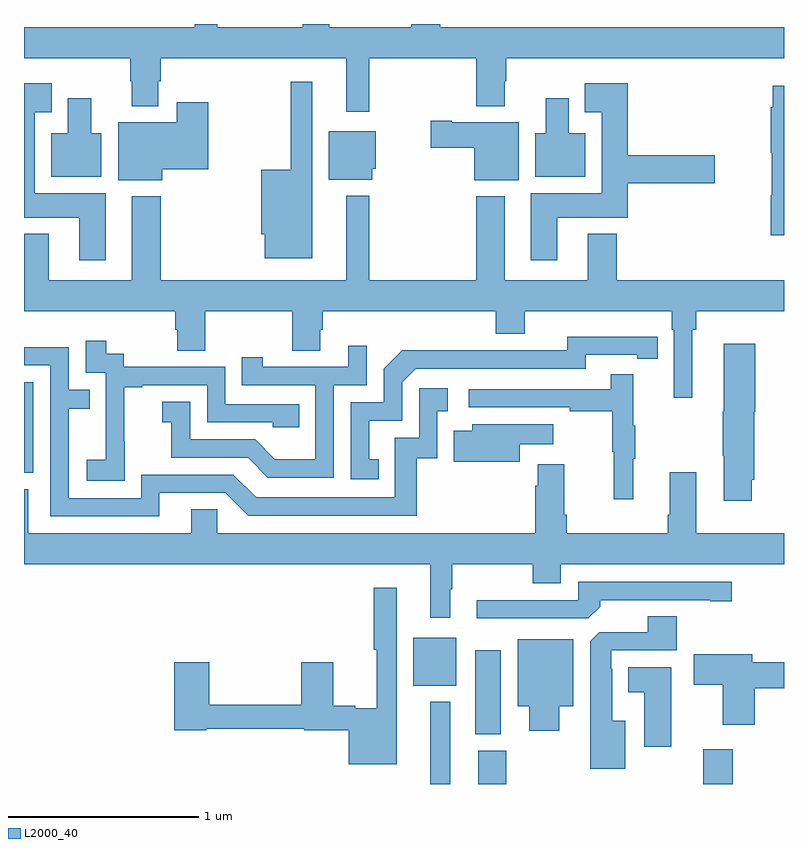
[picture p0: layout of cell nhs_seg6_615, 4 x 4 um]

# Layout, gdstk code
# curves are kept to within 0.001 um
import gdstk
lib = gdstk.Library(unit=1e-6, precision=1e-09)
def R(c, l, rs):  # rectangles x0, y0, x1, y1
    for r in rs: c.add(gdstk.rectangle(r[:2], r[2:], *l))
def P(c, l, *ps):  # polygons
    for p in ps: c.add(gdstk.Polygon(p, *l))
L2000_40 = (2000, 40)

nhs_seg6_615 = lib.new_cell('nhs_seg6_615')
R(nhs_seg6_615, L2000_40, [(151.139,959.5,151.243,959.932), (151.391,959.5,151.539,959.676), (152.576,959.5,152.729,959.683), (151.376,959.761,151.51,960.205), (151.049,960.017,151.276,960.271), (149,961.137,149.049,961.614)])
P(nhs_seg6_615, L2000_40, [(150.817,963.32),(151.379,963.32),(151.379,963.068),(151.531,963.068),(151.531,963.2),(151.539,963.2),(151.539,963.32),(153,963.32),(153,963.484),(151.19,963.484),(151.19,963.5),(151.037,963.5),(151.037,963.484),(150.607,963.484),(150.607,963.5),(150.467,963.5),(150.467,963.484),(150.017,963.484),(150.017,963.5),(149.899,963.5),(149.899,963.484),(149,963.484),(149,963.32),(149.56,963.32),(149.56,963.2),(149.567,963.2),(149.567,963.068),(149.707,963.068),(149.707,963.2),(149.72,963.2),(149.72,963.32),(150.695,963.32),(150.695,963.039),(150.817,963.039)],
  [(150.517,963.196),(150.403,963.196),(150.403,962.734),(150.248,962.734),(150.248,962.394),(150.266,962.394),(150.266,962.267),(150.517,962.267)],
  [(151.807,962.48),(152.177,962.48),(152.177,962.663),(152.635,962.663),(152.635,962.81),(152.177,962.81),(152.177,963.187),(151.952,963.187),(151.952,963.035),(152.042,963.035),(152.042,962.608),(151.667,962.608),(151.667,962.256),(151.807,962.256)],
  [(149.431,962.608),(149.056,962.608),(149.056,963.035),(149.146,963.035),(149.146,963.187),(149,963.187),(149,962.48),(149.291,962.48),(149.291,962.256),(149.431,962.256)],
  [(153,963.175),(152.942,963.175),(152.942,963.062),(152.93,963.062),(152.93,962.822),(152.935,962.822),(152.935,962.6),(152.93,962.6),(152.93,962.388),(153,962.388)],
  [(149.407,962.926),(149.353,962.926),(149.353,963.109),(149.231,963.109),(149.231,962.926),(149.144,962.926),(149.144,962.696),(149.407,962.696)],
  [(151.954,962.926),(151.867,962.926),(151.867,963.109),(151.745,963.109),(151.745,962.926),(151.691,962.926),(151.691,962.696),(151.954,962.696)],
  [(149.728,962.735),(149.97,962.735),(149.97,963.088),(149.804,963.088),(149.804,962.983),(149.495,962.983),(149.495,962.678),(149.728,962.678)],
  [(151.603,962.983),(151.252,962.983),(151.252,962.991),(151.14,962.991),(151.14,962.849),(151.37,962.849),(151.37,962.678),(151.603,962.678)],
  [(150.832,962.739),(150.85,962.739),(150.85,962.935),(150.605,962.935),(150.605,962.681),(150.832,962.681)],
  [(152.518,961.892),(152.537,961.892),(152.537,961.988),(153,961.988),(153,962.152),(152.12,962.152),(152.12,962.395),(151.967,962.395),(151.967,962.152),(151.531,962.152),(151.531,962.593),(151.379,962.593),(151.379,962.152),(150.817,962.152),(150.817,962.596),(150.695,962.596),(150.695,962.152),(149.72,962.152),(149.72,962.593),(149.567,962.593),(149.567,962.152),(149.131,962.152),(149.131,962.395),(149,962.395),(149,961.988),(149.795,961.988),(149.795,961.89),(149.807,961.89),(149.807,961.78),(149.955,961.78),(149.955,961.988),(150.412,961.988),(150.412,961.78),(150.559,961.78),(150.559,961.89),(150.572,961.89),(150.572,961.988),(151.484,961.988),(151.484,961.871),(151.636,961.871),(151.636,961.988),(152.408,961.988),(152.408,961.892),(152.421,961.892),(152.421,961.533),(152.518,961.533)],
  [(150.866,961.209),(150.817,961.209),(150.817,961.413),(150.99,961.413),(150.99,961.614),(151.062,961.686),(151.956,961.686),(151.956,961.758),(152.228,961.758),(152.228,961.738),(152.336,961.738),(152.336,961.854),(151.86,961.855),(151.86,961.782),(151.4,961.782),(151.4,961.784),(150.992,961.784),(150.894,961.686),(150.894,961.509),(150.72,961.509),(150.72,961.104),(150.866,961.104)],
  [(149.529,961.303),(149.528,961.303),(149.528,961.587),(149.623,961.587),(149.623,961.599),(149.964,961.599),(149.964,961.404),(150.309,961.404),(150.309,961.377),(150.449,961.377),(150.449,961.5),(150.06,961.5),(150.06,961.695),(149.526,961.695),(149.526,961.764),(149.434,961.764),(149.434,961.834),(149.325,961.834),(149.325,961.665),(149.43,961.665),(149.43,961.436),(149.429,961.436),(149.429,961.207),(149.331,961.207),(149.331,961.097),(149.529,961.097)],
  [(152.83,961.102),(152.843,961.102),(152.843,961.458),(152.848,961.458),(152.848,961.816),(152.684,961.816),(152.684,961.458),(152.677,961.458),(152.677,961.228),(152.684,961.228),(152.684,960.99),(152.83,960.99)],
  [(150.63,961.599),(150.804,961.599),(150.804,961.807),(150.707,961.807),(150.707,961.695),(150.256,961.695),(150.256,961.747),(150.145,961.747),(150.145,961.599),(150.534,961.599),(150.534,961.21),(150.32,961.21),(150.216,961.314),(149.874,961.314),(149.874,961.513),(149.727,961.513),(149.727,961.403),(149.776,961.403),(149.776,961.218),(150.179,961.218),(150.284,961.113),(150.63,961.113)],
  [(149.713,961.032),(150.06,961.032),(150.18,960.912),(151.067,960.912),(151.067,961.215),(151.176,961.215),(151.176,961.461),(151.231,961.461),(151.231,961.582),(151.08,961.582),(151.08,961.323),(150.951,961.323),(150.951,961.008),(150.222,961.008),(150.102,961.128),(149.616,961.128),(149.616,961.005),(149.235,961.005),(149.235,961.474),(149.345,961.474),(149.345,961.575),(149.235,961.575),(149.235,961.8),(149,961.8),(149,961.704),(149.139,961.704),(149.139,960.909),(149.713,960.909)],
  [(152.207,961.211),(152.218,961.211),(152.218,961.385),(152.207,961.385),(152.207,961.657),(152.089,961.657),(152.089,961.578),(151.341,961.578),(151.341,961.482),(151.873,961.482),(151.873,961.462),(152.097,961.462),(152.097,961.248),(152.104,961.248),(152.104,960.999),(152.207,960.999)],
  [(151.609,961.289),(151.786,961.289),(151.786,961.393),(151.358,961.393),(151.358,961.36),(151.261,961.36),(151.261,961.195),(151.609,961.195)],
  [(151.243,960.524),(151.253,960.524),(151.253,960.656),(151.678,960.656),(151.678,960.557),(151.825,960.557),(151.825,960.656),(153,960.656),(153,960.82),(152.539,960.82),(152.539,961.141),(152.399,961.141),(152.399,960.916),(152.387,960.916),(152.387,960.82),(151.856,960.82),(151.856,960.916),(151.843,960.916),(151.843,961.183),(151.703,961.183),(151.703,961.07),(151.691,961.07),(151.691,960.82),(150.018,960.82),(150.018,960.947),(149.879,960.947),(149.879,960.82),(149.023,960.82),(149.023,961.052),(149,961.052),(149,960.656),(151.139,960.656),(151.139,960.375),(151.243,960.375)],
  [(152.033,960.434),(152.033,960.468),(152.612,960.468),(152.612,960.463),(152.725,960.463),(152.725,960.564),(151.917,960.564),(151.917,960.468),(151.383,960.468),(151.383,960.372),(151.971,960.372)],
  [(150.961,960.532),(150.84,960.532),(150.84,960.207),(150.857,960.207),(150.857,959.899),(150.743,959.899),(150.743,959.912),(150.628,959.912),(150.628,960.142),(150.458,960.142),(150.458,959.918),(149.975,959.918),(149.975,960.142),(149.792,960.142),(149.792,959.782),(149.958,959.782),(149.958,959.79),(150.474,959.79),(150.474,959.782),(150.71,959.782),(150.71,959.603),(150.961,959.603)],
  [(152.164,959.833),(152.095,959.833),(152.095,960.107),(152.091,960.107),(152.091,960.204),(152.435,960.204),(152.435,960.383),(152.282,960.383),(152.282,960.3),(152.028,960.3),(151.979,960.251),(151.979,959.579),(152.164,959.579)],
  [(151.816,959.909),(151.891,959.909),(151.891,960.262),(151.598,960.262),(151.598,959.909),(151.658,959.909),(151.658,959.781),(151.816,959.781)],
  [(152.846,960.004),(153,960.004),(153,960.14),(152.833,960.14),(152.833,960.184),(152.526,960.184),(152.526,960.022),(152.678,960.022),(152.678,959.811),(152.846,959.811)],
  [(152.407,960.115),(152.18,960.115),(152.18,959.984),(152.264,959.984),(152.264,959.697),(152.407,959.697)])

lib.write_gds('nhs_seg6_615.gds')
